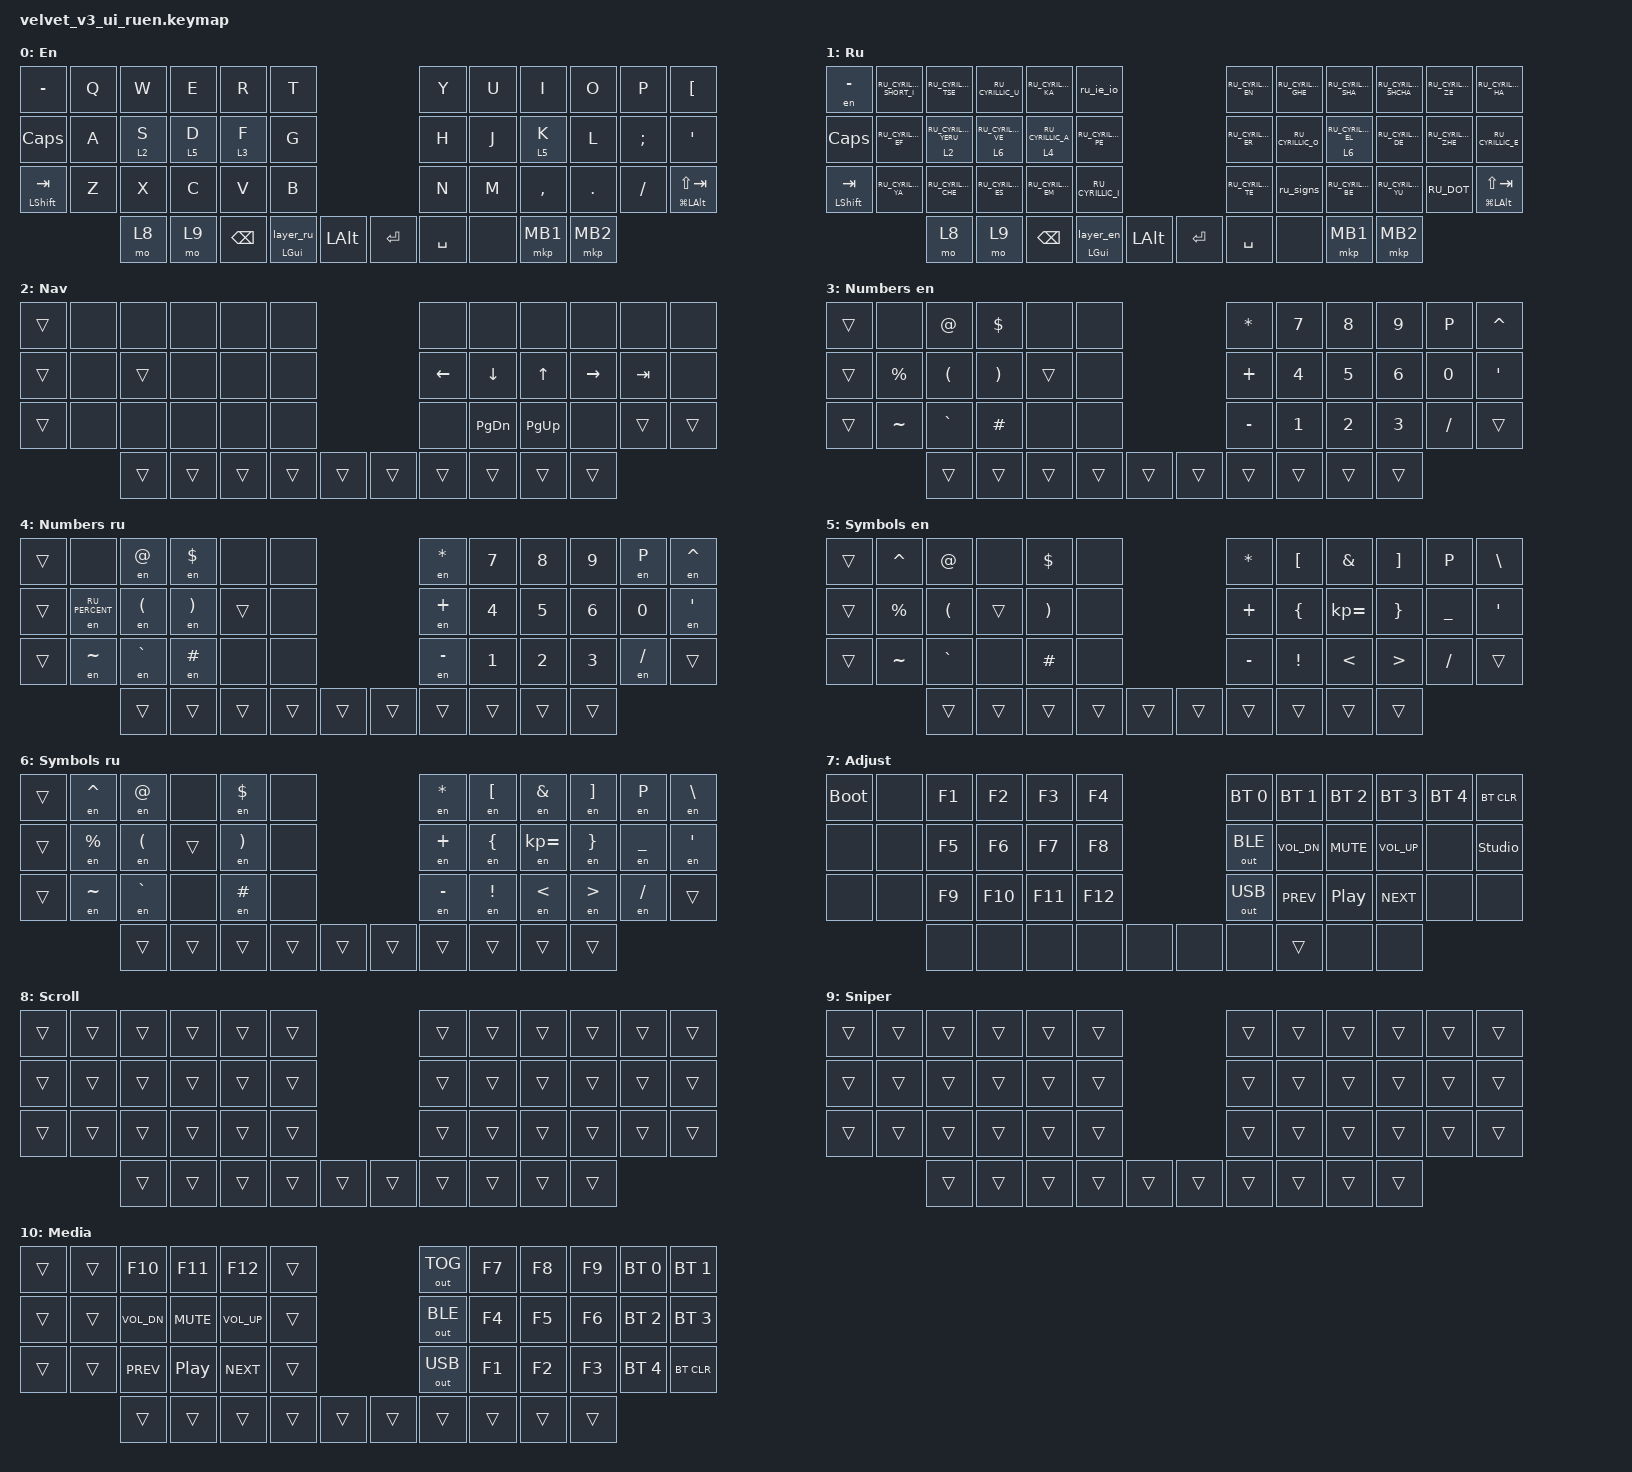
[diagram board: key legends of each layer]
#include "keys_ru.h"
#include "colemak_keys.h"
#include <dt-bindings/zmk/input_transform.h>
#include <input/processors.dtsi>
#include <zephyr/dt-bindings/input/input-event-codes.h>
#include <behaviors.dtsi>
#include <dt-bindings/zmk/bt.h>
#include <dt-bindings/zmk/keys.h>
#include <dt-bindings/zmk/outputs.h>
#include <dt-bindings/zmk/pointing.h>

/ {
    behaviors {
        mo_to_ru: mo_to_ru {
            compatible = "zmk,behavior-hold-tap";
            label = "MO_TO_RU";
            bindings = <&kp>, <&layer_ru>;

            #binding-cells = <2>;
            tapping-term-ms = <200>;
            hold-while-undecided;
            hold-while-undecided-linger;
        };

        mo_to_en: mo_to_en {
            compatible = "zmk,behavior-hold-tap";
            label = "MO_TO_EN";
            bindings = <&kp>, <&layer_en>;

            #binding-cells = <2>;
            tapping-term-ms = <200>;
            hold-while-undecided;
            hold-while-undecided-linger;
        };

        mkpl: mkpl {
            compatible = "zmk,behavior-hold-tap";
            label = "MKPL";
            bindings = <&mo>, <&mkp>;

            #binding-cells = <2>;
            tapping-term-ms = <200>;
        };

        hrl: hrl {
            compatible = "zmk,behavior-hold-tap";
            label = "Home row left";
            bindings = <&mo>, <&kp>;

            #binding-cells = <2>;
            tapping-term-ms = <280>;
            require-prior-idle-ms = <150>;
            quick-tap-ms = <175>;
            hold-trigger-key-positions = <6 18 30 31 19 7 20 32 8 9 10 11 23 22 21 33 34 35 45 44 41 42>;
            hold-trigger-on-release;
            flavor = "balanced";
        };

        ru_semi_colon: ru_semi_colon {
            compatible = "zmk,behavior-mod-morph";
            label = "RU_SEMI_COLON";
            bindings = <&kp LG(RU_SEMI)>, <&kp RU_COLON>;

            #binding-cells = <0>;
            mods = <(MOD_LSFT|MOD_RSFT)>;
            keep-mods = <(MOD_LSFT|MOD_RSFT)>;
        };

        hrr: hrr {
            compatible = "zmk,behavior-hold-tap";
            label = "HRR";
            bindings = <&mo>, <&kp>;

            #binding-cells = <2>;
            tapping-term-ms = <280>;
            require-prior-idle-ms = <150>;
            quick-tap-ms = <175>;
            hold-trigger-on-release;
            flavor = "balanced";
            hold-trigger-key-positions = <5 17 29 28 16 4 3 15 27 37 36 26 14 2 1 13 25 38>;
        };

        ru_ie_io: ru_ie_io {
            compatible = "zmk,behavior-mod-morph";
            label = "RU_IE_IO";
            bindings = <&kp RU_CYRILLIC_IE>, <&kp RU_CYRILLIC_IO>;

            #binding-cells = <0>;
            mods = <(MOD_RALT|MOD_LALT)>;
        };

        ru_signs: ru_signs {
            compatible = "zmk,behavior-mod-morph";
            label = "RU_SIGNS";
            bindings = <&kp RU_CYRILLIC_SOFT_SIGN>, <&kp RU_CYRILLIC_HARD_SIGN>;

            #binding-cells = <0>;
            mods = <(MOD_LALT|MOD_RALT)>;
        };
    };

    combos {
        compatible = "zmk,combos";

        lbrk_en {
            bindings = <&kp LEFT_BRACKET>;
            key-positions = <7 8>;
            layers = <0 3 5>;
        };

        lbr_en {
            bindings = <&kp LEFT_BRACE>;
            key-positions = <19 20>;
            layers = <0 3 5>;
        };

        rbr_en {
            bindings = <&kp RIGHT_BRACE>;
            key-positions = <21 20>;
            layers = <0 3 5>;
        };

        rbrk_en {
            bindings = <&kp RIGHT_BRACKET>;
            key-positions = <9 8>;
            layers = <0 3 5>;
        };

        lpr_en {
            bindings = <&kp LPAR>;
            key-positions = <14 15>;
            layers = <0 3 5>;
        };

        rpar_en {
            bindings = <&kp RPAR>;
            key-positions = <15 16>;
            layers = <0 3 5>;
        };

        media {
            bindings = <&mo 10>;
            key-positions = <39 42>;
        };

        lbrk_ru {
            bindings = <&en LEFT_BRACKET>;
            key-positions = <7 8>;
            layers = <1 4 6>;
        };

        lbr_ru {
            bindings = <&en LEFT_BRACE>;
            key-positions = <19 20>;
            layers = <1 4 6>;
        };

        rbr_ru {
            bindings = <&en RIGHT_BRACE>;
            key-positions = <21 20>;
            layers = <1 4 6>;
        };

        rbrk_ru {
            bindings = <&en RIGHT_BRACKET>;
            key-positions = <9 8>;
            layers = <1 4 6>;
        };

        lpr_ru {
            bindings = <&kp RU_LPAR>;
            key-positions = <14 15>;
            layers = <1 4 6>;
        };

        rpar_ru {
            bindings = <&kp RU_RPAR>;
            key-positions = <15 16>;
            layers = <1 4 6>;
        };
    };

    macros {
        to_ru: to_ru {
            compatible = "zmk,behavior-macro";
            #binding-cells = <0>;
            bindings = <&kp LS(LC(N2))>;
            label = "TO_RU";
            wait-ms = <0>;
            tap-ms = <30>;
        };

        to_en: to_en {
            compatible = "zmk,behavior-macro";
            #binding-cells = <0>;
            bindings = <&kp LS(LC(N1))>;
            label = "TO_EN";
            wait-ms = <0>;
            tap-ms = <30>;
        };

        layer_en: layer_en {
            compatible = "zmk,behavior-macro";
            #binding-cells = <0>;
            bindings = <&to 0 &to_en>;
            label = "LAYER_EN";
            wait-ms = <0>;
            tap-ms = <30>;
        };

        layer_ru: layer_ru {
            compatible = "zmk,behavior-macro";
            #binding-cells = <0>;
            bindings = <&to 1 &to_ru>;
            label = "LAYER_RU";
            tap-ms = <30>;
            wait-ms = <0>;
        };

        en: en {
            compatible = "zmk,behavior-macro-one-param";
            #binding-cells = <1>;
            bindings =
                <&to_en>,
                <&macro_press>,
                <&macro_param_1to1 &kp MACRO_PLACEHOLDER>,
                <&macro_pause_for_release>,
                <&macro_release>,
                <&macro_param_1to1 &kp MACRO_PLACEHOLDER>,
                <&macro_tap>,
                <&to_ru>;

            label = "EN";
            wait-ms = <0>;
            tap-ms = <30>;
        };
    };

    keymap {
        compatible = "zmk,keymap";

        en {
            bindings = <
&kp MINUS      &kp Q  &kp W     &kp E     &kp R          &kp T                                            &kp Y      &kp U  &kp I      &kp O     &kp P          &kp LEFT_BRACKET
&kp CAPSLOCK   &kp A  &hrl 2 S  &hrl 5 D  &hrl 3 F       &kp G                                            &kp H      &kp J  &hrr 5 K   &kp L     &kp SEMICOLON  &kp SINGLE_QUOTE
&mt LSHFT TAB  &kp Z  &kp X     &kp C     &kp V          &kp B                                            &kp N      &kp M  &kp COMMA  &kp DOT   &kp FSLH       &mt LG(LEFT_ALT) LS(TAB)
                      &mo 8     &mo 9     &kp BACKSPACE  &mo_to_ru LEFT_GUI 0  &kp LEFT_ALT    &kp ENTER  &kp SPACE  &none  &mkp MB1   &mkp MB2
            >;

            display-name = "En";
        };

        ru {
            display-name = "Ru";
            bindings = <
&en MINUS      &kp RU_CYRILLIC_SHORT_I  &kp RU_CYRILLIC_TSE      &kp RU_CYRILLIC_U      &kp RU_CYRILLIC_KA    &ru_ie_io                                        &kp RU_CYRILLIC_EN  &kp RU_CYRILLIC_GHE  &kp RU_CYRILLIC_SHA    &kp RU_CYRILLIC_SHCHA  &kp RU_CYRILLIC_ZE   &kp RU_CYRILLIC_HA
&kp CAPS       &kp RU_CYRILLIC_EF       &hrl 2 RU_CYRILLIC_YERU  &hrl 6 RU_CYRILLIC_VE  &hrl 4 RU_CYRILLIC_A  &kp RU_CYRILLIC_PE                               &kp RU_CYRILLIC_ER  &kp RU_CYRILLIC_O    &hrr 6 RU_CYRILLIC_EL  &kp RU_CYRILLIC_DE     &kp RU_CYRILLIC_ZHE  &kp RU_CYRILLIC_E
&mt LSHFT TAB  &kp RU_CYRILLIC_YA       &kp RU_CYRILLIC_CHE      &kp RU_CYRILLIC_ES     &kp RU_CYRILLIC_EM    &kp RU_CYRILLIC_I                                &kp RU_CYRILLIC_TE  &ru_signs            &kp RU_CYRILLIC_BE     &kp RU_CYRILLIC_YU     &kp RU_DOT           &mt LG(LEFT_ALT) LS(TAB)
                                        &mo 8                    &mo 9                  &kp BSPC              &mo_to_en LEFT_GUI 0  &kp LEFT_ALT    &kp ENTER  &kp SPACE           &none                &mkp MB1               &mkp MB2
            >;
        };

        nav {
            bindings = <
&trans  &none  &none   &none   &none   &none                     &none     &none          &none        &none      &none    &none
&trans  &none  &trans  &none   &none   &none                     &kp LEFT  &kp DOWN       &kp UP       &kp RIGHT  &kp TAB  &none
&trans  &none  &none   &none   &none   &none                     &none     &kp PAGE_DOWN  &kp PAGE_UP  &none      &trans   &trans
               &trans  &trans  &trans  &trans  &trans    &trans  &trans    &trans         &trans       &trans
            >;

            display-name = "Nav";
        };

        num_en {
            bindings = <
&trans  &none        &kp AT     &kp DLLR  &none   &none                     &kp ASTRK  &kp N7  &kp N8  &kp N9  &kp P     &kp CARET
&trans  &kp PERCENT  &kp LPAR   &kp RPAR  &trans  &none                     &kp PLUS   &kp N4  &kp N5  &kp N6  &kp N0    &kp SINGLE_QUOTE
&trans  &kp TILDE    &kp GRAVE  &kp HASH  &none   &none                     &kp MINUS  &kp N1  &kp N2  &kp N3  &kp FSLH  &trans
                     &trans     &trans    &trans  &trans  &trans    &trans  &trans     &trans  &trans  &trans
            >;

            label = "Numbers en";
        };

        num_ru {
            bindings = <
&trans  &none           &en AT     &en DLLR  &none   &none                     &en ASTRK  &kp N7  &kp N8  &kp N9  &en P     &en CARET
&trans  &en RU_PERCENT  &en LPAR   &en RPAR  &trans  &none                     &en PLUS   &kp N4  &kp N5  &kp N6  &kp N0    &en SINGLE_QUOTE
&trans  &en TILDE       &en GRAVE  &en HASH  &none   &none                     &en MINUS  &kp N1  &kp N2  &kp N3  &en FSLH  &trans
                        &trans     &trans    &trans  &trans  &trans    &trans  &trans     &trans  &trans  &trans
            >;

            label = "Numbers ru";
        };

        sym_en {
            bindings = <
&trans  &kp CARET    &kp AT     &none   &kp DLLR  &none                     &kp ASTRK  &kp LEFT_BRACKET  &kp AMPS       &kp RIGHT_BRACKET  &kp P      &kp BACKSLASH
&trans  &kp PERCENT  &kp LPAR   &trans  &kp RPAR  &none                     &kp PLUS   &kp LBRC          &kp KP_EQUAL   &kp RIGHT_BRACE    &kp UNDER  &kp SINGLE_QUOTE
&trans  &kp TILDE    &kp GRAVE  &none   &kp HASH  &none                     &kp MINUS  &kp EXCL          &kp LESS_THAN  &kp GREATER_THAN   &kp SLASH  &trans
                     &trans     &trans  &trans    &trans  &trans    &trans  &trans     &trans            &trans         &trans
            >;

            display-name = "Symbols en";
            label = "Symbols en";
        };

        sym_ru {
            display-name = "Symbols ru";
            bindings = <
&trans  &en CARET    &en AT     &none   &en DLLR  &none                     &en ASTRK  &en LEFT_BRACKET  &en AMPS       &en RIGHT_BRACKET  &en P      &en BACKSLASH
&trans  &en PERCENT  &en LPAR   &trans  &en RPAR  &none                     &en PLUS   &en LBRC          &en KP_EQUAL   &en RIGHT_BRACE    &en UNDER  &en SINGLE_QUOTE
&trans  &en TILDE    &en GRAVE  &none   &en HASH  &none                     &en MINUS  &en EXCL          &en LESS_THAN  &en GREATER_THAN   &en SLASH  &trans
                     &trans     &trans  &trans    &trans  &trans    &trans  &trans     &trans            &trans         &trans
            >;

            label = "Symbols ru";
        };

        adj {
            bindings = <
&bootloader  &none  &kp F1  &kp F2   &kp F3   &kp F4                   &bt BT_SEL 0  &bt BT_SEL 1  &bt BT_SEL 2      &bt BT_SEL 3  &bt BT_SEL 4  &bt BT_CLR
&none        &none  &kp F5  &kp F6   &kp F7   &kp F8                   &out OUT_BLE  &kp C_VOL_DN  &kp C_MUTE        &kp C_VOL_UP  &none         &studio_unlock
&none        &none  &kp F9  &kp F10  &kp F11  &kp F12                  &out OUT_USB  &kp C_PREV    &kp C_PLAY_PAUSE  &kp C_NEXT    &none         &none
                    &none   &none    &none    &none    &none    &none  &none         &trans        &none             &none
            >;

            display-name = "Adjust";
        };

        scroll {
            bindings = <
&trans  &trans  &trans  &trans  &trans  &trans                    &trans  &trans  &trans  &trans  &trans  &trans
&trans  &trans  &trans  &trans  &trans  &trans                    &trans  &trans  &trans  &trans  &trans  &trans
&trans  &trans  &trans  &trans  &trans  &trans                    &trans  &trans  &trans  &trans  &trans  &trans
                &trans  &trans  &trans  &trans  &trans    &trans  &trans  &trans  &trans  &trans
            >;

            display-name = "Scroll";
        };

        sniper {
            bindings = <
&trans  &trans  &trans  &trans  &trans  &trans                    &trans  &trans  &trans  &trans  &trans  &trans
&trans  &trans  &trans  &trans  &trans  &trans                    &trans  &trans  &trans  &trans  &trans  &trans
&trans  &trans  &trans  &trans  &trans  &trans                    &trans  &trans  &trans  &trans  &trans  &trans
                &trans  &trans  &trans  &trans  &trans    &trans  &trans  &trans  &trans  &trans
            >;

            display-name = "Sniper";
        };

        media {
            bindings = <
&trans  &trans  &kp F10       &kp F11     &kp F12          &trans                    &out OUT_TOG  &kp F7  &kp F8  &kp F9  &bt BT_SEL 0  &bt BT_SEL 1
&trans  &trans  &kp C_VOL_DN  &kp C_MUTE  &kp C_VOLUME_UP  &trans                    &out OUT_BLE  &kp F4  &kp F5  &kp F6  &bt BT_SEL 2  &bt BT_SEL 3
&trans  &trans  &kp C_PREV    &kp C_PP    &kp C_NEXT       &trans                    &out OUT_USB  &kp F1  &kp F2  &kp F3  &bt BT_SEL 4  &bt BT_CLR
                &trans        &trans      &trans           &trans  &trans    &trans  &trans        &trans  &trans  &trans
            >;

            label = "Media";
        };
    };

    conditional_layers { compatible = "zmk,conditional-layers"; };
};

&trackball { cpi = <2000>; };

&trackball_listener {
    input-processors = <&zip_xy_scaler 9 20>;

    scroller {
        layers = <8>;
        input-processors =
            <&zip_xy_transform INPUT_TRANSFORM_Y_INVERT>,
            <&zip_xy_scaler 1 32>,
            <&zip_xy_to_scroll_mapper>;

        process-next;
    };

    sniper {
        layers = <9>;
        input-processors = <&zip_xy_scaler 1 7>;
    };
};
